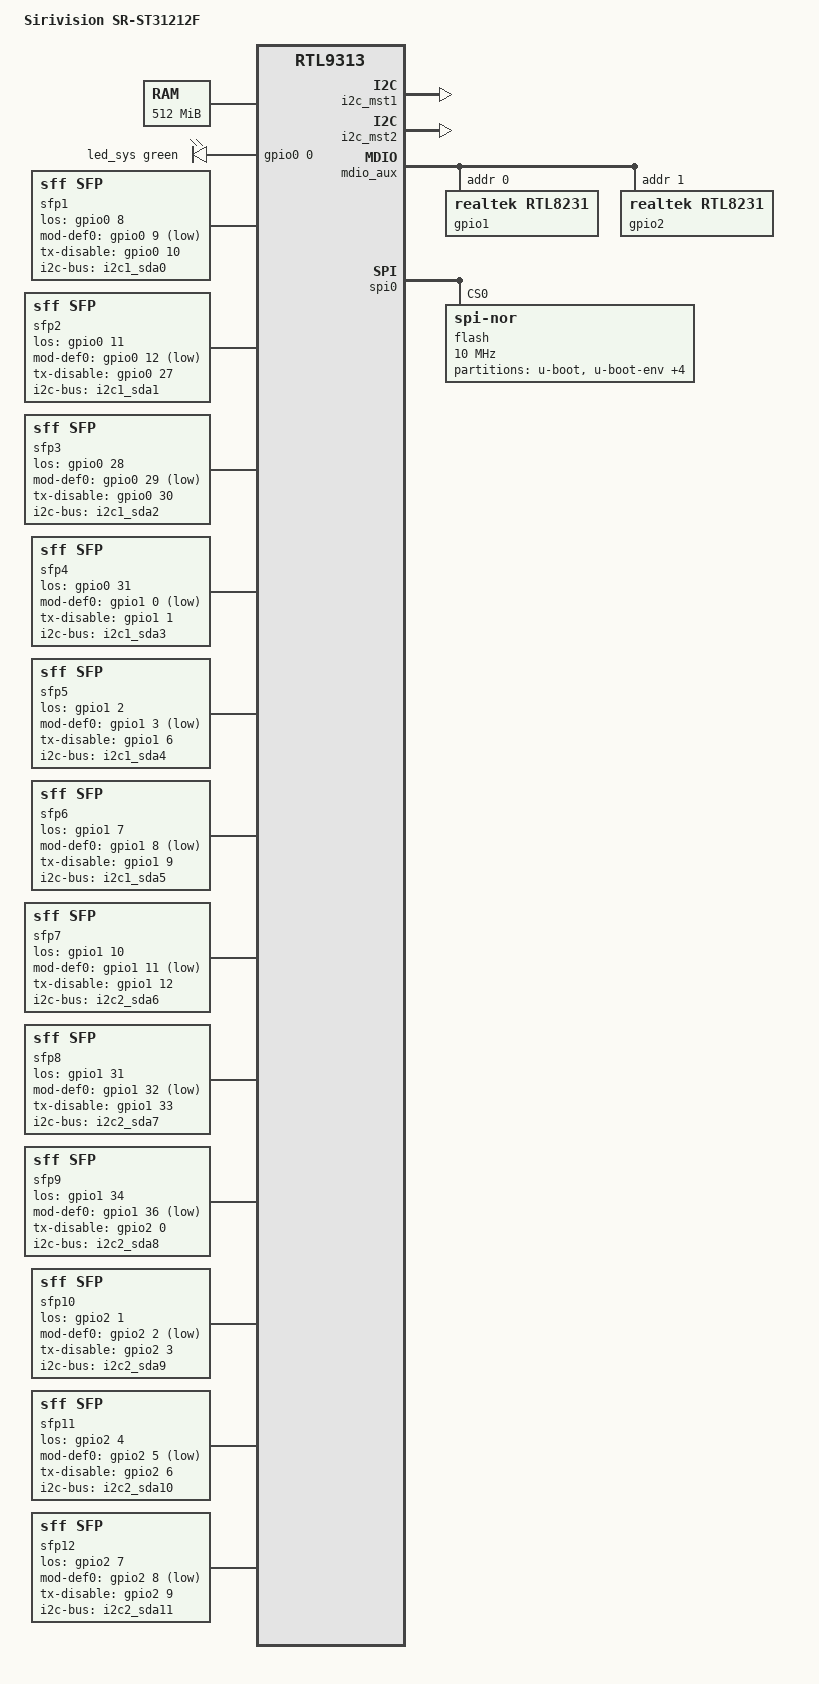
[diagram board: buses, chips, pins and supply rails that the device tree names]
// SPDX-License-Identifier: GPL-2.0-or-later
/dts-v1/;

#include "rtl931x.dtsi"

#include <dt-bindings/gpio/gpio.h>
#include <dt-bindings/leds/common.h>
#include <dt-bindings/phy/phy.h>

/ {
	compatible = "sirivision,sr-st31212f", "realtek,rtl9313-soc";
	model = "Sirivision SR-ST31212F";

	memory@0 {
		device_type = "memory";
		reg = <0x00000000 0x10000000>, /* 256 MiB lowmem */
		      <0x90000000 0x10000000>; /* 256 MiB highmem */
	};

	chosen {
		stdout-path = "serial0:115200n8";
	};

	aliases {
		label-mac-device = &ethernet0;

		led-boot = &led_sys;
		led-failsafe = &led_sys;
		led-running = &led_sys;
		led-upgrade = &led_sys;
	};

	leds {
		compatible = "gpio-leds";

		led_sys: led-0 {
			gpios = <&gpio0 0 GPIO_ACTIVE_HIGH>;
			color = <LED_COLOR_ID_GREEN>;
			function = LED_FUNCTION_STATUS;
		};
	};

	led_set {
		compatible = "realtek,rtl9300-leds";
		active-low;

		led_set0 = <(RTL93XX_LED_SET_10G | RTL93XX_LED_SET_2P5G |
			     RTL93XX_LED_SET_1G | RTL93XX_LED_SET_LINK |
			     RTL93XX_LED_SET_ACT)>;
	};

	sfp1: sfp-p1 {
		compatible = "sff,sfp";
		i2c-bus = <&i2c1_sda0>;
		los-gpios = <&gpio0 8 GPIO_ACTIVE_HIGH>;
		mod-def0-gpios = <&gpio0 9 GPIO_ACTIVE_LOW>;
		tx-disable-gpios = <&gpio0 10 GPIO_ACTIVE_HIGH>;
		maximum-power-milliwatt = <2000>;
	};

	sfp2: sfp-p2 {
		compatible = "sff,sfp";
		i2c-bus = <&i2c1_sda1>;
		los-gpios = <&gpio0 11 GPIO_ACTIVE_HIGH>;
		mod-def0-gpios = <&gpio0 12 GPIO_ACTIVE_LOW>;
		tx-disable-gpios = <&gpio0 27 GPIO_ACTIVE_HIGH>;
		maximum-power-milliwatt = <2000>;
	};

	sfp3: sfp-p3 {
		compatible = "sff,sfp";
		i2c-bus = <&i2c1_sda2>;
		los-gpios = <&gpio0 28 GPIO_ACTIVE_HIGH>;
		mod-def0-gpios = <&gpio0 29 GPIO_ACTIVE_LOW>;
		tx-disable-gpios = <&gpio0 30 GPIO_ACTIVE_HIGH>;
		maximum-power-milliwatt = <2000>;
	};

	sfp4: sfp-p4 {
		compatible = "sff,sfp";
		i2c-bus = <&i2c1_sda3>;
		los-gpios = <&gpio0 31 GPIO_ACTIVE_HIGH>;
		mod-def0-gpios = <&gpio1 0 GPIO_ACTIVE_LOW>;
		tx-disable-gpios = <&gpio1 1 GPIO_ACTIVE_HIGH>;
		maximum-power-milliwatt = <2000>;
	};

	sfp5: sfp-p5 {
		compatible = "sff,sfp";
		i2c-bus = <&i2c1_sda4>;
		los-gpios = <&gpio1 2 GPIO_ACTIVE_HIGH>;
		mod-def0-gpios = <&gpio1 3 GPIO_ACTIVE_LOW>;
		tx-disable-gpios = <&gpio1 6 GPIO_ACTIVE_HIGH>;
		maximum-power-milliwatt = <2000>;
	};

	sfp6: sfp-p6 {
		compatible = "sff,sfp";
		i2c-bus = <&i2c1_sda5>;
		los-gpios = <&gpio1 7 GPIO_ACTIVE_HIGH>;
		mod-def0-gpios = <&gpio1 8 GPIO_ACTIVE_LOW>;
		tx-disable-gpios = <&gpio1 9 GPIO_ACTIVE_HIGH>;
		maximum-power-milliwatt = <2000>;
	};

	sfp7: sfp-p7 {
		compatible = "sff,sfp";
		i2c-bus = <&i2c2_sda6>;
		los-gpios = <&gpio1 10 GPIO_ACTIVE_HIGH>;
		mod-def0-gpios = <&gpio1 11 GPIO_ACTIVE_LOW>;
		tx-disable-gpios = <&gpio1 12 GPIO_ACTIVE_HIGH>;
		maximum-power-milliwatt = <2000>;
	};

	sfp8: sfp-p8 {
		compatible = "sff,sfp";
		i2c-bus = <&i2c2_sda7>;
		los-gpios = <&gpio1 31 GPIO_ACTIVE_HIGH>;
		mod-def0-gpios = <&gpio1 32 GPIO_ACTIVE_LOW>;
		tx-disable-gpios = <&gpio1 33 GPIO_ACTIVE_HIGH>;
		maximum-power-milliwatt = <2000>;
	};

	sfp9: sfp-p9 {
		compatible = "sff,sfp";
		i2c-bus = <&i2c2_sda8>;
		los-gpios = <&gpio1 34 GPIO_ACTIVE_HIGH>;
		mod-def0-gpios = <&gpio1 36 GPIO_ACTIVE_LOW>;
		tx-disable-gpios = <&gpio2 0 GPIO_ACTIVE_HIGH>;
		maximum-power-milliwatt = <2000>;
	};

	sfp10: sfp-p10 {
		compatible = "sff,sfp";
		i2c-bus = <&i2c2_sda9>;
		los-gpios = <&gpio2 1 GPIO_ACTIVE_HIGH>;
		mod-def0-gpios = <&gpio2 2 GPIO_ACTIVE_LOW>;
		tx-disable-gpios = <&gpio2 3 GPIO_ACTIVE_HIGH>;
		maximum-power-milliwatt = <2000>;
	};

	sfp11: sfp-p11 {
		compatible = "sff,sfp";
		i2c-bus = <&i2c2_sda10>;
		los-gpios = <&gpio2 4 GPIO_ACTIVE_HIGH>;
		mod-def0-gpios = <&gpio2 5 GPIO_ACTIVE_LOW>;
		tx-disable-gpios = <&gpio2 6 GPIO_ACTIVE_HIGH>;
		maximum-power-milliwatt = <2000>;
	};

	sfp12: sfp-p12 {
		compatible = "sff,sfp";
		i2c-bus = <&i2c2_sda11>;
		los-gpios = <&gpio2 7 GPIO_ACTIVE_HIGH>;
		mod-def0-gpios = <&gpio2 8 GPIO_ACTIVE_LOW>;
		tx-disable-gpios = <&gpio2 9 GPIO_ACTIVE_HIGH>;
		maximum-power-milliwatt = <2000>;
	};
};

&gpio0 {
	pinctrl-names = "default";
	pinctrl-0 = <&pinmux_disable_spi0>, <&pinmux_disable_spi0_cs0>,
		    <&pinmux_disable_spi0_cs1>, <&pinmux_disable_sys_led>;
};

&i2c_mst1 {
	status = "okay";

	i2c1_sda0: i2c@0 { reg = <0>; };
	i2c1_sda1: i2c@1 { reg = <1>; };
	i2c1_sda2: i2c@2 { reg = <2>; };
	i2c1_sda3: i2c@3 { reg = <3>; };
	i2c1_sda4: i2c@4 { reg = <4>; };
	i2c1_sda5: i2c@5 { reg = <5>; };
};

&i2c_mst2 {
	status = "okay";

	i2c2_sda6: i2c@6 { reg = <6>; };
	i2c2_sda7: i2c@7 { reg = <7>; };
	i2c2_sda8: i2c@8 { reg = <8>; };
	i2c2_sda9: i2c@9 { reg = <9>; };
	i2c2_sda10: i2c@a { reg = <10>; };
	i2c2_sda11: i2c@b { reg = <11>; };
};

&mdio_aux {
	status = "okay";

	gpio1: gpio@0 {
		compatible = "realtek,rtl8231";
		reg = <0>;
		gpio-controller;
		#gpio-cells = <2>;
		gpio-ranges = <&gpio1 0 0 37>;
		led-controller {
			compatible = "realtek,rtl8231-leds";
			status = "disabled";
		};
	};

	gpio2: gpio@1 {
		compatible = "realtek,rtl8231";
		reg = <1>;
		gpio-controller;
		#gpio-cells = <2>;
		gpio-ranges = <&gpio2 0 0 37>;
		led-controller {
			compatible = "realtek,rtl8231-leds";
			status = "disabled";
		};
	};
};

&spi0 {
	status = "okay";

	flash@0 {
		compatible = "jedec,spi-nor";
		reg = <0>;
		spi-max-frequency = <10000000>;

		partitions {
			compatible = "fixed-partitions";
			#address-cells = <1>;
			#size-cells = <1>;

			partition@0 {
				label = "u-boot";
				reg = <0x0000000 0x00e0000>;
				read-only;
			};

			partition@e0000 {
				label = "u-boot-env";
				reg = <0x00e0000 0x0010000>;

				nvmem-layout {
					compatible = "u-boot,env";

					macaddr_ubootenv_ethaddr: ethaddr {
						#nvmem-cell-cells = <1>;
					};
				};
			};

			partition@f0000 {
				label = "u-boot-env2";
				reg = <0x00f0000 0x0010000>;
			};

			partition@100000 {
				label = "jffs";
				reg = <0x0100000 0x0100000>;
			};

			partition@200000 {
				label = "jffs2";
				reg = <0x0200000 0x0100000>;
			};

			partition@300000 {
				compatible = "openwrt,uimage", "denx,uimage";
				label = "firmware";
				reg = <0x0300000 0x0d00000>;
				openwrt,ih-magic = <0x93000000>;
			};
		};
	};
};

&ethernet0 {
	nvmem-cells = <&macaddr_ubootenv_ethaddr 0>;
	nvmem-cell-names = "mac-address";
};

&switch0 {
	ethernet-ports {
		#address-cells = <1>;
		#size-cells = <0>;

		SWITCH_PORT_SFP(0, 1, 2, 0, 1)
		SWITCH_PORT_SFP(8, 2, 3, 0, 2)
		SWITCH_PORT_SFP(16, 3, 4, 0, 3)
		SWITCH_PORT_SFP(24, 4, 5, 0, 4)
		SWITCH_PORT_SFP(32, 5, 6, 0, 5)
		SWITCH_PORT_SFP(40, 6, 7, 0, 6)
		SWITCH_PORT_SFP(48, 7, 8, 0, 7)
		SWITCH_PORT_SFP(50, 8, 9, 0, 8)
		SWITCH_PORT_SFP(52, 9, 10, 0, 9)
		SWITCH_PORT_SFP(53, 10, 11, 0, 10)
		SWITCH_PORT_SFP(54, 11, 12, 0, 11)
		SWITCH_PORT_SFP(55, 12, 13, 0, 12)

		port@56 {
			ethernet = <&ethernet0>;
			reg = <56>;
			phy-mode = "internal";
			fixed-link {
				speed = <1000>;
				full-duplex;
			};
		};
	};
};

&serdes2 { tx-polarity = <PHY_POL_INVERT>; };
&serdes3 { tx-polarity = <PHY_POL_INVERT>; };
&serdes4 { tx-polarity = <PHY_POL_INVERT>; };
&serdes5 { tx-polarity = <PHY_POL_INVERT>; };
&serdes6 { tx-polarity = <PHY_POL_INVERT>; };
&serdes7 { tx-polarity = <PHY_POL_INVERT>; };
&serdes8 { tx-polarity = <PHY_POL_INVERT>; };
&serdes9 { tx-polarity = <PHY_POL_INVERT>; };
&serdes10 { tx-polarity = <PHY_POL_INVERT>; };
&serdes11 { tx-polarity = <PHY_POL_INVERT>; };
&serdes12 { tx-polarity = <PHY_POL_INVERT>; };
&serdes13 { tx-polarity = <PHY_POL_INVERT>; };
